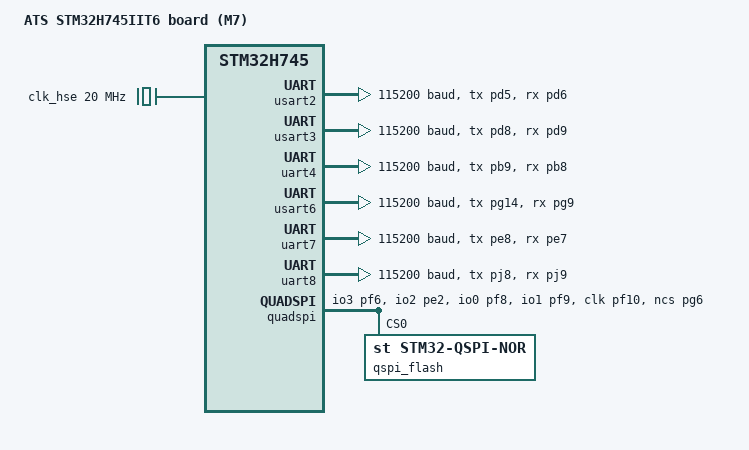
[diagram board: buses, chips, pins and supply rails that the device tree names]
/*
 * SPDX-License-Identifier: Apache-2.0
 */

/dts-v1/;
#include <mem.h>

/*
 * SoC include 文件选择说明：
 * - 当前使用 M7 核心，所以 include stm32h745Xi_m7.dtsi。
 * - Zephyr 不会为每个料号（如 STM32H745IIT6）单独提供 SoC dtsi，
 *   而是按系列/核提供通用描述，再由板级 DTS 覆盖。
 * - STM32H745IIT6 总 Flash 2MB，分为 flash0/flash1 两个 bank。
 */
#include <st/h7/stm32h745Xi_m7.dtsi>
#include "ats_stm32h745.dtsi"

/ {
	model = "ATS STM32H745IIT6 board (M7)";
	compatible = "ats,stm32h745";

	chosen {
		/*
		 * Console 输出配置：
		 * - UART4 用作 printk/shell console。
		 * - 注意 Zephyr 中 UART label 与设备树节点一致。
		 */
		zephyr,console = &usart6;
		zephyr,shell-uart = &usart6;

		/*
		 * M7 核心内存和 Flash 分配：
		 * - DTCM：内部高速 RAM，供 ISR/延迟敏感数据使用。
		 * - SRAM0：AXI SRAM，M7 主 RAM。
		 * - flash0：内部 Flash bank0，用于 M7 镜像。
		 */
		zephyr,dtcm = &dtcm;
		zephyr,sram = &sram0;
		zephyr,flash = &flash0;
	};
};

/* 时钟配置 */
&clk_lsi { status = "okay"; };
&clk_hsi48 { status = "okay"; };
&clk_hsi {
	status = "okay"; /* 使用内部 HSI 64MHz 作为系统时钟源（调试阶段） */
};
&clk_hse {
	clock-frequency = <DT_FREQ_M(20)>;
	status = "okay"; /* 调试阶段未接外部晶振 */
};

/* PLL 配置参考 stm32h745i_disco */
&pll {
	div-m = <2>;
	mul-n = <80>;   /* 可根据目标 SYSCLK 调整 */
	div-p = <2>;
	div-q = <2>;
	div-r = <2>;
	clocks = <&clk_hse>;
	status = "okay";
};

/* RCC 主时钟配置 */
&rcc {
	clocks = <&pll>;
	clock-frequency = <DT_FREQ_M(400)>; /* SYSCLK = 400 MHz */
};


/* USART2 */
&usart2 {
	pinctrl-0 = <&usart2_tx_pd5 &usart2_rx_pd6>;
	pinctrl-names = "default";
	current-speed = <115200>;

	status = "okay";
    dmas = <&dma2 1 44 (STM32_DMA_PERIPH_TX | STM32_DMA_PRIORITY_HIGH) 0
            &dma2 2 43 (STM32_DMA_PERIPH_RX | STM32_DMA_PRIORITY_HIGH) 0>;
    dma-names = "tx", "rx";


};

/* USART3 */
&usart3 {
	pinctrl-0 = <&usart3_tx_pd8 &usart3_rx_pd9>;
	pinctrl-names = "default";
	current-speed = <115200>;
	status = "okay";
};

/* UART4 */
&uart4 {
	pinctrl-0 = <&uart4_tx_pb9 &uart4_rx_pb8>;
	pinctrl-names = "default";
	current-speed = <115200>;
	status = "okay";
};

&gpiob {
    status = "okay";
};

/* USART6 用作 console */
&usart6 {
	pinctrl-0 = <&usart6_tx_pg14 &usart6_rx_pg9>;
	pinctrl-names = "default";
	current-speed = <115200>;
	status = "okay";
};

/* UART7 */
&uart7 {
	pinctrl-0 = <&uart7_tx_pe8 &uart7_rx_pe7>;
	pinctrl-names = "default";
	current-speed = <115200>;
	status = "okay";
};

/* UART8 */
&uart8 {
	pinctrl-0 = <&uart8_tx_pj8 &uart8_rx_pj9>;
	pinctrl-names = "default";
	current-speed = <115200>;
	status = "okay";
};

/* 启用 DMA 控制器 */
&dma1 {
    status = "okay";
};

&dma2 {
    status = "okay";
};
&dmamux1 {
    status = "okay";   // ❌ 会导致 DMA 不工作
};

/*  PA11     ------> FDCAN1_RX
    PA12     ------> FDCAN1_TX  
*/



/* QSPI 外部 Flash 配置 */
&quadspi {
	pinctrl-0 = <&quadspi_bk1_io3_pf6
		     &quadspi_bk1_io2_pe2
		     &quadspi_bk1_io0_pf8
		     &quadspi_bk1_io1_pf9
		     &quadspi_clk_pf10
		     &quadspi_bk1_ncs_pg6>;
	pinctrl-names = "default";
	flash-id = <1>;
	ssht-enable;
	status = "okay";

	/* GD25B512MEYJG QSPI NOR Flash */
	qspi_flash: qspi-nor-flash@0 {
		compatible = "st,stm32-qspi-nor";
		reg = <0>;
		size = <DT_SIZE_M(512)>; /* 512 Mbits = 64 MiB */
		qspi-max-frequency = <40000000>;
		cs-high-time = <2>;
		spi-bus-width = <4>;
		writeoc = "PP_1_1_4";
		reset-cmd;
		status = "okay";
	};
};
